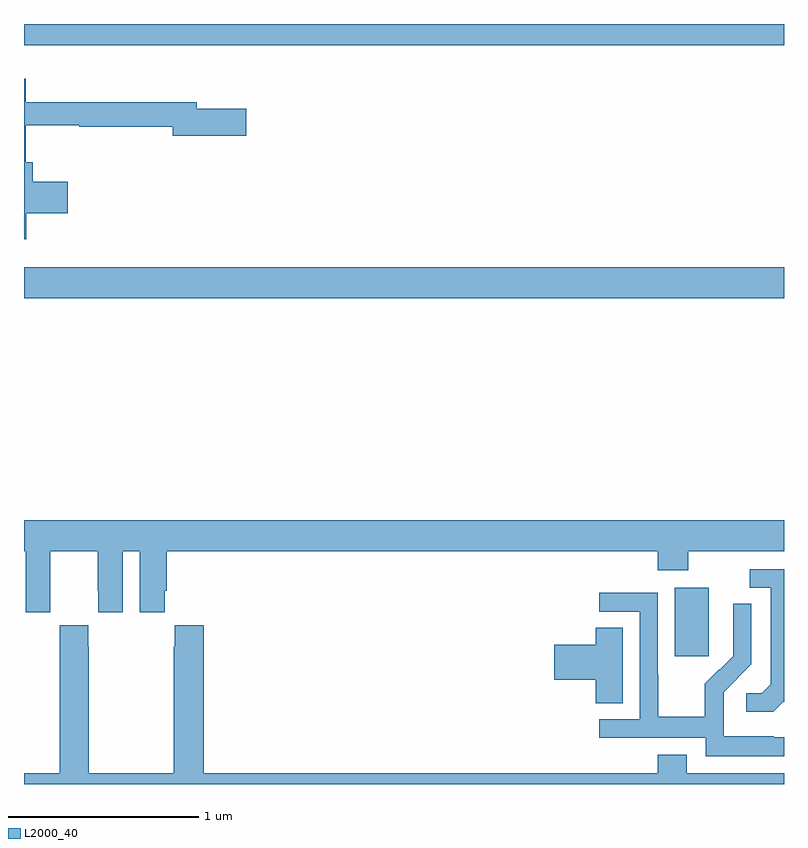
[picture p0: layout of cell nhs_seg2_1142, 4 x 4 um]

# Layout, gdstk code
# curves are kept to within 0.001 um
import gdstk
lib = gdstk.Library(unit=1e-6, precision=1e-09)
def R(c, l, rs):  # rectangles x0, y0, x1, y1
    for r in rs: c.add(gdstk.rectangle(r[:2], r[2:], *l))
def P(c, l, *ps):  # polygons
    for p in ps: c.add(gdstk.Polygon(p, *l))
L2000_40 = (2000, 40)

nhs_seg2_1142 = lib.new_cell('nhs_seg2_1142')
R(nhs_seg2_1142, L2000_40, [(174.425,592.473,174.604,592.834), (171,594.356,175,594.52), (171,595.688,175,595.8)])
P(nhs_seg2_1142, L2000_40, [(171.011,594.803),(171.229,594.803),(171.229,594.969),(171.047,594.969),(171.047,595.072),(171.008,595.072),(171.008,595.266),(171.291,595.266),(171.291,595.258),(171.782,595.258),(171.782,595.211),(172.171,595.211),(172.171,595.353),(171.91,595.353),(171.91,595.387),(171.008,595.387),(171.008,595.513),(171,595.513),(171,594.666),(171.011,594.666)],
  [(171.138,592.816),(171.139,592.816),(171.139,593.024),(171.389,593.024),(171.389,592.816),(171.39,592.816),(171.39,592.704),(171.52,592.704),(171.52,593.024),(171.608,593.024),(171.608,592.704),(171.742,592.704),(171.742,592.816),(171.752,592.816),(171.752,593.024),(174.335,593.024),(174.335,592.925),(174.495,592.925),(174.495,593.024),(175,593.024),(175,593.188),(171,593.188),(171,593.024),(171.008,593.024),(171.008,592.704),(171.138,592.704)],
  [(174.996,592.233),(175,592.233),(175,592.929),(174.819,592.929),(174.819,592.833),(174.929,592.833),(174.929,592.325),(174.882,592.278),(174.801,592.278),(174.801,592.181),(174.944,592.181)],
  [(175,592.047),(174.947,592.047),(174.947,592.051),(174.684,592.051),(174.684,592.185),(174.682,592.185),(174.682,592.282),(174.828,592.43),(174.828,592.748),(174.732,592.748),(174.732,592.594),(174.734,592.594),(174.734,592.472),(174.663,592.401),(174.66,592.404),(174.583,592.327),(174.583,592.153),(174.339,592.153),(174.339,592.376),(174.336,592.376),(174.336,592.806),(174.027,592.806),(174.027,592.707),(174.24,592.707),(174.24,592.14),(174.027,592.14),(174.027,592.044),(174.588,592.044),(174.588,591.947),(175,591.947)],
  [(175,591.856),(174.487,591.856),(174.487,591.955),(174.335,591.955),(174.335,591.856),(171.947,591.856),(171.947,592.636),(171.793,592.636),(171.793,592.523),(171.787,592.523),(171.787,591.856),(171.342,591.856),(171.342,592.523),(171.339,592.523),(171.339,592.636),(171.189,592.636),(171.189,592.523),(171.187,592.523),(171.187,591.856),(171,591.856),(171,591.8),(175,591.8)],
  [(174.151,592.622),(174.008,592.622),(174.008,592.532),(173.79,592.532),(173.79,592.349),(174.008,592.349),(174.008,592.225),(174.151,592.225)])

lib.write_gds('nhs_seg2_1142.gds')
